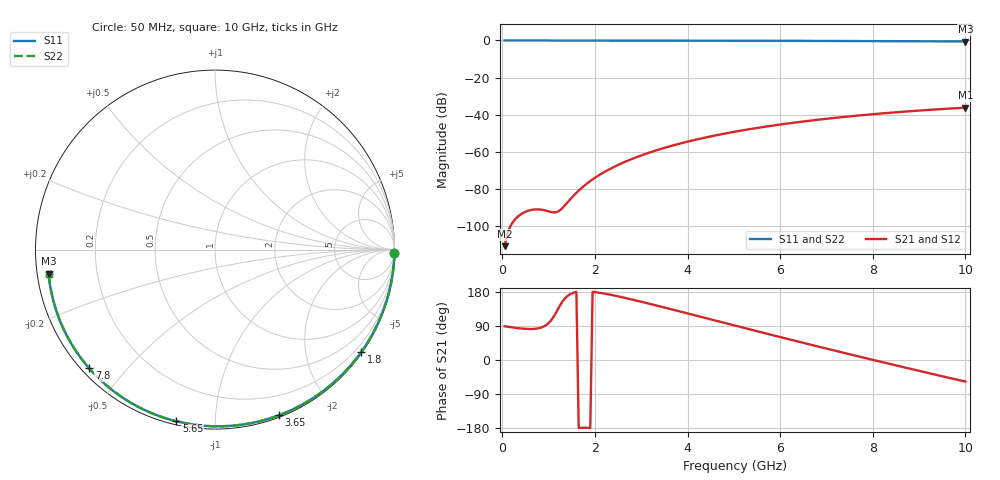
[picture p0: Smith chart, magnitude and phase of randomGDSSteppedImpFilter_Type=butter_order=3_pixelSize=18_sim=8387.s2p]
! freq	dB(S11)	phase(S11)	dB(S12)	phase(S12)
!  dB(S21)	phase(S21)	dB(S22)	phase(S22)
!S-par simulation data
#  GHz  S  DB  R 50
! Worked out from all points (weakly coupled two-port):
!   200 points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, 50 MHz to 10 GHz, reference 50 ohm
!   highest |S21| = -36.15 dB at 10 GHz (marker M1); lowest = -110.6 dB at 50 MHz (marker M2)
!   lowest |S11| = -0.6 dB at 10 GHz (marker M3), VSWR 30.52, Z = 1.65 - j3.59 ohm
!   |S11| at or under -10 dB: nowhere
!   |S22| runs from -0.6 to 0.0 dB; largest |S21 - S12| = 0
!   S11 on the Smith chart (normalised r, x): 50 MHz: open; 1.8 GHz: 0.03, -3.16; 3.65 GHz: 0.02, -1.46; 5.65 GHz: 0.02, -0.80; 7.8 GHz: 0.02, -0.40; 10 GHz: 0.03, -0.07
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0.05  -0.00 -1.0  -110.59 89.1  -110.59 89.1  -0.00 -1.0
0.45  -0.01 -8.9  -92.72 82.6  -92.72 82.6  -0.01 -8.9
0.85  -0.02 -16.8  -90.99 86.1  -90.99 86.1  -0.02 -16.8
1.65  -0.04 -32.2  -80.68 -179.4  -80.68 -179.4  -0.04 -32.2
1.7  -0.04 -33.2  -79.55 -178.9  -79.55 -178.9  -0.04 -33.2
1.75  -0.04 -34.1  -78.48 -178.7  -78.48 -178.7  -0.04 -34.1
1.8  -0.04 -35.1  -77.46 -178.7  -77.46 -178.7  -0.04 -35.1
1.95  -0.05 -37.9  -74.68 179.9  -74.68 179.9  -0.05 -37.9
2.1  -0.05 -40.7  -72.25 177.4  -72.25 177.4  -0.05 -40.7
2.45  -0.06 -47.3  -67.52 169.3  -67.52 169.3  -0.06 -47.3
2.9  -0.07 -55.6  -62.73 156.7  -62.73 156.7  -0.07 -55.6
3.4  -0.09 -64.6  -58.49 141.7  -58.49 141.7  -0.09 -64.6
3.65  -0.09 -69.0  -56.68 133.9  -56.68 133.9  -0.09 -69.0
4.35  -0.12 -81.1  -52.38 112.0  -52.38 112.0  -0.12 -81.1
5.05  -0.14 -92.9  -48.93 90.0  -48.93 90.0  -0.14 -92.9
5.65  -0.17 -102.7  -46.46 71.3  -46.46 71.3  -0.17 -102.7
6.15  -0.20 -110.7  -44.68 55.9  -44.68 55.9  -0.20 -110.7
6.7  -0.23 -119.4  -42.95 39.2  -42.95 39.2  -0.23 -119.4
7.8  -0.32 -136.6  -40.09 6.2  -40.09 6.2  -0.32 -136.6
8.35  -0.37 -145.2  -38.91 -9.9  -38.91 -9.9  -0.37 -145.2
9.2  -0.47 -158.7  -37.34 -34.4  -37.34 -34.4  -0.47 -158.7
10  -0.57 -171.8  -36.15 -57.0  -36.15 -57.0  -0.57 -171.8
